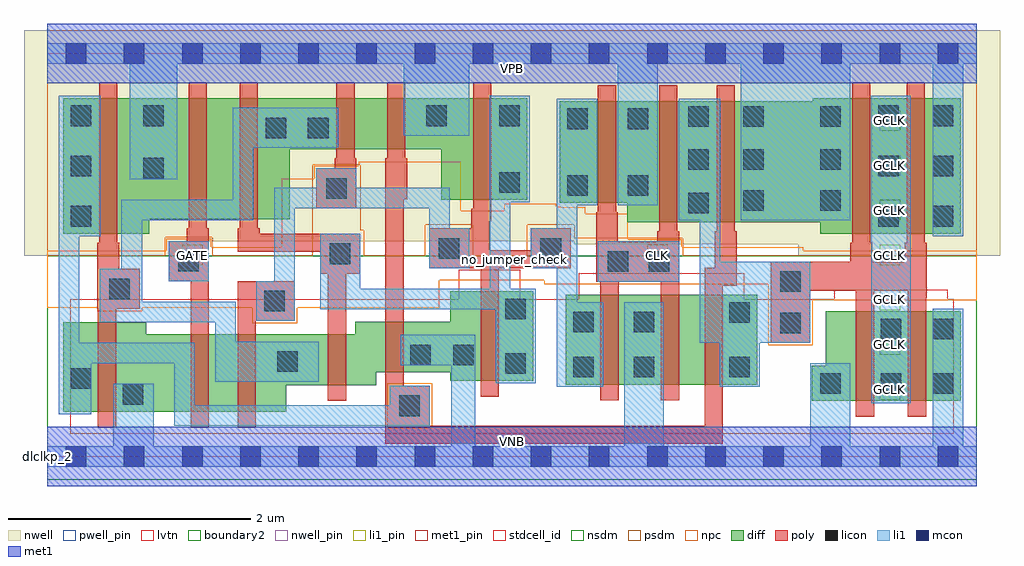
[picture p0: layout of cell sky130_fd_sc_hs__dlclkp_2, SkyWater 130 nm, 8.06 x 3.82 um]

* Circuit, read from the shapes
.subckt sky130_fd_sc_hs__dlclkp_2 CLK GATE GCLK VGND VNB VPB VPWR
XM1 VGND n1 n2 VNB sky130_fd_pr__nfet_01v8_lvt w=0.74 l=0.15
XM2 n3 GATE VGND VNB sky130_fd_pr__nfet_01v8_lvt w=0.64 l=0.15
XM3 n1 n4 n3 VNB sky130_fd_pr__nfet_01v8_lvt w=0.64 l=0.15
XM4 n5 n6 n1 VNB sky130_fd_pr__nfet_01v8_lvt w=0.42 l=0.15
XM5 VGND n2 n5 VNB sky130_fd_pr__nfet_01v8_lvt w=0.42 l=0.15
XM6 n6 n4 VGND VNB sky130_fd_pr__nfet_01v8_lvt w=0.74 l=0.15
XM7 VGND CLK n4 VNB sky130_fd_pr__nfet_01v8_lvt w=0.74 l=0.15
XM8 n7 CLK VGND VNB sky130_fd_pr__nfet_01v8_lvt w=0.74 l=0.15
XM9 n8 n2 n7 VNB sky130_fd_pr__nfet_01v8_lvt w=0.74 l=0.15
XM10 GCLK n8 VGND VNB sky130_fd_pr__nfet_01v8_lvt w=0.74 l=0.15 m=2
XM11 VPWR n1 n2 VPB sky130_fd_pr__pfet_01v8 w=1.12 l=0.15
XM12 n9 GATE VPWR VPB sky130_fd_pr__pfet_01v8 w=1 l=0.15
XM13 n1 n6 n9 VPB sky130_fd_pr__pfet_01v8 w=1 l=0.15
XM14 n10 n4 n1 VPB sky130_fd_pr__pfet_01v8 w=0.42 l=0.15
XM15 VPWR n2 n10 VPB sky130_fd_pr__pfet_01v8 w=0.42 l=0.15
XM16 n6 n4 VPWR VPB sky130_fd_pr__pfet_01v8 w=0.84 l=0.15
XM17 VPWR CLK n4 VPB sky130_fd_pr__pfet_01v8 w=0.84 l=0.15
XM18 n8 CLK VPWR VPB sky130_fd_pr__pfet_01v8 w=1 l=0.15
XM19 VPWR n2 n8 VPB sky130_fd_pr__pfet_01v8 w=1 l=0.15
XM20 GCLK n8 VPWR VPB sky130_fd_pr__pfet_01v8 w=1.12 l=0.15 m=2
.ends

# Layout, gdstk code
import gdstk
lib = gdstk.Library(unit=1e-6, precision=1e-09)
def R(c, l, rs):  # rectangles x0, y0, x1, y1
    for r in rs: c.add(gdstk.rectangle(r[:2], r[2:], *l))
def A(c, l, x, y, w, h, nx, ny, dx, dy):  # array of equal rectangles
    R(c, l, [(x+i*dx, y+j*dy, x+i*dx+w, y+j*dy+h) for i in range(nx) for j in range(ny)])
def P(c, l, *ps):  # polygons
    for p in ps: c.add(gdstk.Polygon(p, *l))
nwell_pin = (64, 16)
nwell = (64, 20)
diff = (65, 20)
poly = (66, 20)
licon = (66, 44)
li1_pin = (67, 16)
li1 = (67, 20)
mcon = (67, 44)
met1_pin = (68, 16)
met1 = (68, 20)
stdcell_id = (81, 4)
nsdm = (93, 44)
psdm = (94, 20)
npc = (95, 20)
pwell_pin = (122, 16)
lvtn = (125, 44)
boundary2 = (236, 0)

sky130_fd_sc_hs__dlclkp_ = lib.new_cell('sky130_fd_sc_hs__dlclkp_2')
R(sky130_fd_sc_hs__dlclkp_, nwell_pin, [(0,3.085,7.68,3.33)])
P(sky130_fd_sc_hs__dlclkp_, nwell, [(7.87,3.52),(-0.19,3.52),(-0.19,1.66),(1.16,1.66),(1.16,1.78),(4.355,1.78),(4.355,1.755),(6.205,1.755),(6.205,1.66),(7.87,1.66)])
R(sky130_fd_sc_hs__dlclkp_, diff, [(4.285,0.595,5.865,1.335)])
P(sky130_fd_sc_hs__dlclkp_, diff, [(3.965,2.96),(0.135,2.96),(0.135,1.84),(0.845,1.84),(0.845,1.96),(2.005,1.96),(2.005,2.54),(3.255,2.54),(3.255,2.12),(3.965,2.12)],
  [(4.015,1.365),(3.33,1.365),(3.33,1.115),(2.545,1.115),(2.545,1.01),(0.82,1.01),(0.82,1.11),(0.135,1.11),(0.135,0.37),(1.975,0.37),(1.975,0.59),(2.72,0.59),(2.72,0.695),(3.33,0.695),(3.33,0.625),(4.015,0.625)],
  [(7.545,2.96),(6.325,2.96),(6.325,2.935),(4.235,2.935),(4.235,2.095),(4.79,2.095),(4.79,1.935),(6.385,1.935),(6.385,1.84),(7.545,1.84)],
  [(7.545,1.2),(6.43,1.2),(6.43,0.75),(6.315,0.75),(6.315,0.46),(7.545,0.46)])
P(sky130_fd_sc_hs__dlclkp_, poly, [(7.265,1.765),(7.25,1.765),(7.25,3.09),(7.1,3.09),(7.1,1.765),(7.085,1.765),(7.085,1.61),(6.815,1.61),(6.815,1.765),(6.8,1.765),(6.8,3.09),(6.65,3.09),(6.65,1.765),(6.635,1.765),(6.635,1.61),(5.975,1.61),(5.975,0.94),(6.305,0.94),(6.305,1.37),(6.68,1.37),(6.68,0.33),(6.83,0.33),(6.83,1.37),(7.11,1.37),(7.11,0.33),(7.26,0.33),(7.26,1.31),(7.265,1.31)],
  [(5.695,1.86),(5.68,1.86),(5.68,3.065),(5.53,3.065),(5.53,1.86),(5.515,1.86),(5.515,1.56),(5.43,1.56),(5.43,0.255),(3.16,0.255),(3.16,0.585),(2.945,0.585),(2.945,2.125),(2.975,2.125),(2.975,2.465),(2.96,2.465),(2.96,3.09),(2.81,3.09),(2.81,2.465),(2.795,2.465),(2.795,0.105),(5.58,0.105),(5.58,1.41),(5.695,1.41)],
  [(5.22,1.86),(5.205,1.86),(5.205,3.065),(5.055,3.065),(5.055,1.86),(5.04,1.86),(5.04,1.775),(4.715,1.775),(4.715,2.02),(4.7,2.02),(4.7,3.065),(4.55,3.065),(4.55,2.02),(4.535,2.02),(4.535,1.445),(4.57,1.445),(4.57,0.465),(4.72,0.465),(4.72,1.445),(5.07,1.445),(5.07,0.465),(5.22,0.465)],
  [(4.325,1.885),(3.995,1.885),(3.995,1.705),(3.655,1.705),(3.655,1.945),(3.67,1.945),(3.67,3.09),(3.52,3.09),(3.52,2.045),(3.505,2.045),(3.505,1.885),(3.155,1.885),(3.155,1.555),(3.58,1.555),(3.58,0.495),(3.73,0.495),(3.73,1.555),(4.325,1.555)],
  [(2.585,1.84),(1.755,1.84),(1.755,1.885),(1.74,1.885),(1.74,3.09),(1.59,3.09),(1.59,1.885),(1.575,1.885),(1.575,1.69),(2.255,1.69),(2.255,1.51),(2.32,1.51),(2.32,0.46),(2.47,0.46),(2.47,1.51),(2.585,1.51)],
  [(2.555,2.465),(2.54,2.465),(2.54,3.09),(2.39,3.09),(2.39,2.465),(2.375,2.465),(2.375,2.38),(2.225,2.38),(2.225,2.05),(2.555,2.05)],
  [(2.045,1.45),(1.575,1.45),(1.575,0.24),(1.725,0.24),(1.725,1.12),(2.045,1.12)],
  [(1.335,1.885),(1.32,1.885),(1.32,3.09),(1.17,3.09),(1.17,1.885),(1.155,1.885),(1.155,1.78),(1.005,1.78),(1.005,1.45),(1.185,1.45),(1.185,0.24),(1.335,0.24)],
  [(0.765,1.55),(0.595,1.55),(0.595,1.765),(0.58,1.765),(0.58,3.09),(0.43,3.09),(0.43,1.765),(0.415,1.765),(0.415,1.22),(0.42,1.22),(0.42,0.24),(0.57,0.24),(0.57,1.22),(0.765,1.22)])
A(sky130_fd_sc_hs__dlclkp_, licon, 0.195, 1.9, 0.17, 0.17, 1, 3, 0, 0.415)
A(sky130_fd_sc_hs__dlclkp_, licon, 6.865, 1.9, 0.17, 0.17, 1, 3, 0, 0.415)
A(sky130_fd_sc_hs__dlclkp_, licon, 7.315, 1.9, 0.17, 0.17, 1, 3, 0, 0.415)
R(sky130_fd_sc_hs__dlclkp_, licon, [(2.91,0.335,3.08,0.505), (0.625,0.43,0.795,0.6), (6.385,0.52,6.555,0.69), (6.885,0.52,7.055,0.69), (7.315,0.52,7.485,0.69), (0.195,0.56,0.365,0.73), (4.345,0.655,4.515,0.825), (4.845,0.655,5.015,0.825), (5.635,0.655,5.805,0.825), (3.785,0.685,3.955,0.855), (1.9,0.7,2.07,0.87), (3,0.755,3.17,0.925), (3.355,0.755,3.525,0.925), (6.885,0.97,7.055,1.14), (7.315,0.97,7.485,1.14), (6.055,1.02,6.225,1.19), (4.345,1.025,4.515,1.195), (4.845,1.025,5.015,1.195), (5.635,1.105,5.805,1.275), (3.785,1.135,3.955,1.305), (1.795,1.2,1.965,1.37), (0.515,1.3,0.685,1.47), (6.055,1.36,6.225,1.53), (4.63,1.525,4.8,1.695), (4.97,1.525,5.14,1.695), (1.085,1.53,1.255,1.7), (2.335,1.59,2.505,1.76), (3.235,1.635,3.405,1.805), (4.075,1.635,4.245,1.805), (5.295,2.01,5.465,2.18), (5.75,2.03,5.92,2.2), (6.385,2.03,6.555,2.2), (2.305,2.13,2.475,2.3), (4.295,2.155,4.465,2.325), (4.795,2.155,4.965,2.325), (3.735,2.18,3.905,2.35), (0.795,2.3,0.965,2.47), (5.295,2.37,5.465,2.54), (5.75,2.37,5.92,2.54), (6.385,2.37,6.555,2.54), (1.805,2.63,1.975,2.8), (2.155,2.63,2.325,2.8), (4.295,2.705,4.465,2.875), (4.795,2.705,4.965,2.875), (5.295,2.725,5.465,2.895), (5.75,2.725,5.92,2.895), (6.385,2.725,6.555,2.895), (0.795,2.73,0.965,2.9), (3.13,2.73,3.3,2.9), (3.735,2.73,3.905,2.9)])
A(sky130_fd_sc_hs__dlclkp_, li1_pin, 6.875, 0.47, 0.17, 0.17, 1, 7, 0, 0.37)
R(sky130_fd_sc_hs__dlclkp_, li1_pin, [(1.115,1.58,1.285,1.75), (4.955,1.58,5.125,1.75)])
R(sky130_fd_sc_hs__dlclkp_, li1, [(6.805,0.44,7.135,2.98), (4.55,1.445,5.22,1.78), (1.005,1.45,1.335,1.78)])
P(sky130_fd_sc_hs__dlclkp_, li1, [(0.685,2.29),(0.685,3.245),(0,3.245),(0,3.415),(7.68,3.415),(7.68,3.245),(7.565,3.245),(7.565,1.82),(7.315,1.82),(7.315,3.245),(6.635,3.245),(6.635,1.95),(5.73,1.95),(5.73,3.245),(5.045,3.245),(5.045,2.075),(4.715,2.075),(4.715,3.245),(3.485,3.245),(3.485,2.65),(2.945,2.65),(2.945,3.245),(1.075,3.245),(1.075,2.29)],
  [(0.545,0.085),(0.545,0.6),(0.88,0.6),(0.88,0.085),(3.34,0.085),(3.34,0.755),(2.92,0.755),(2.92,1.005),(3.535,1.005),(3.535,0.085),(4.765,0.085),(4.765,1.275),(5.095,1.275),(5.095,0.085),(6.305,0.085),(6.305,0.77),(6.635,0.77),(6.635,0.085),(7.315,0.085),(7.315,1.22),(7.565,1.22),(7.565,0.085),(7.68,0.085),(7.68,-0.085),(0,-0.085),(0,0.085)],
  [(0.785,1.28),(1.56,1.28),(1.56,0.95),(2.245,0.95),(2.245,0.62),(1.39,0.62),(1.39,1.11),(0.435,1.11),(0.435,1.55),(0.615,1.55),(0.615,2.12),(1.535,2.12),(1.535,2.88),(2.405,2.88),(2.405,2.55),(1.705,2.55),(1.705,1.95),(0.785,1.95)],
  [(2.555,2.22),(3.325,2.22),(3.325,1.885),(3.485,1.885),(3.485,1.555),(3.155,1.555),(3.155,2.05),(2.045,2.05),(2.045,1.12),(1.73,1.12),(1.73,1.45),(1.875,1.45),(1.875,2.22),(2.225,2.22),(2.225,2.38),(2.555,2.38)],
  [(1.05,0.77),(0.365,0.77),(0.365,0.35),(0.095,0.35),(0.095,2.98),(0.445,2.98),(0.445,1.82),(0.265,1.82),(0.265,0.94),(1.22,0.94),(1.22,0.425),(2.83,0.425),(2.83,0.585),(3.16,0.585),(3.16,0.255),(1.05,0.255)],
  [(2.255,1.215),(2.255,1.84),(2.585,1.84),(2.585,1.385),(3.655,1.385),(3.655,2.98),(3.985,2.98),(3.985,2.1),(3.825,2.1),(3.825,1.385),(4.035,1.385),(4.035,0.605),(3.705,0.605),(3.705,1.215)],
  [(5.215,1.95),(5.215,2.955),(5.56,2.955),(5.56,1.61),(6.305,1.61),(6.305,0.94),(5.885,0.94),(5.885,0.575),(5.555,0.575),(5.555,0.94),(5.39,0.94),(5.39,1.95)],
  [(3.995,1.555),(3.995,1.885),(4.21,1.885),(4.21,2.955),(4.545,2.955),(4.545,2.075),(4.38,2.075),(4.38,1.275),(4.595,1.275),(4.595,0.575),(4.21,0.575),(4.21,1.555)])
A(sky130_fd_sc_hs__dlclkp_, mcon, 0.155, -0.085, 0.17, 0.17, 16, 2, 0.48, 3.33)
R(sky130_fd_sc_hs__dlclkp_, met1_pin, [(0,0,7.68,0.245), (0,3.085,7.68,3.33)])
R(sky130_fd_sc_hs__dlclkp_, met1, [(0,-0.245,7.68,0.245), (0,3.085,7.68,3.575)])
R(sky130_fd_sc_hs__dlclkp_, stdcell_id, [(0,0,7.68,3.33)])
R(sky130_fd_sc_hs__dlclkp_, nsdm, [(0,-0.19,7.68,1.66)])
P(sky130_fd_sc_hs__dlclkp_, psdm, [(7.68,3.52),(0,3.52),(0,1.66),(0.975,1.66),(0.975,1.81),(1.365,1.81),(1.365,1.66),(2.195,1.66),(2.195,2.41),(2.585,2.41),(2.585,1.87),(2.615,1.87),(2.615,1.66),(3.125,1.66),(3.125,1.915),(3.515,1.915),(3.515,1.66),(3.965,1.66),(3.965,1.915),(4.355,1.915),(4.355,1.805),(5.25,1.805),(5.25,1.66),(7.68,1.66)])
R(sky130_fd_sc_hs__dlclkp_, npc, [(2.81,0.235,3.18,0.605)])
P(sky130_fd_sc_hs__dlclkp_, npc, [(7.68,1.7),(6.245,1.7),(6.245,1.73),(5.24,1.73),(5.24,1.795),(4.795,1.795),(4.795,2.005),(4.445,2.005),(4.445,2.06),(4.24,2.06),(4.24,2.065),(4.205,2.065),(4.205,2.09),(3.775,2.09),(3.775,2.03),(3.415,2.03),(3.415,2.435),(2.575,2.435),(2.575,2.4),(2.205,2.4),(2.205,2.295),(1.94,2.295),(1.94,1.73),(1.355,1.73),(1.355,1.8),(0.985,1.8),(0.985,1.7),(0,1.7),(0,1.23),(0.415,1.23),(0.415,1.2),(0.785,1.2),(0.785,1.23),(1.695,1.23),(1.695,1.1),(2.065,1.1),(2.065,1.23),(3.24,1.23),(3.24,1.455),(4.105,1.455),(4.105,1.425),(5.955,1.425),(5.955,0.92),(6.325,0.92),(6.325,1.29),(7.68,1.29)])
R(sky130_fd_sc_hs__dlclkp_, pwell_pin, [(0,0,7.68,0.245)])
P(sky130_fd_sc_hs__dlclkp_, lvtn, [(7.49,1.3),(7.44,1.3),(7.44,1.38),(6.5,1.38),(6.5,1.3),(5.76,1.3),(5.76,1.515),(4.39,1.515),(4.39,1.3),(3.91,1.3),(3.91,1.545),(3.4,1.545),(3.4,1.3),(0.19,1.3),(0.19,0.19),(7.49,0.19)])
R(sky130_fd_sc_hs__dlclkp_, boundary2, [(0,0,7.68,3.33)])
sky130_fd_sc_hs__dlclkp_.add(gdstk.Label('no_jumper_check', (3.86,1.625), layer=83, texttype=44))
sky130_fd_sc_hs__dlclkp_.add(gdstk.Label('dlclkp_2', (0,0), layer=83, texttype=44))
sky130_fd_sc_hs__dlclkp_.add(gdstk.Label('VNB', (3.84,0.123), layer=64, texttype=59))
sky130_fd_sc_hs__dlclkp_.add(gdstk.Label('VPB', (3.84,3.208), layer=64, texttype=5))
sky130_fd_sc_hs__dlclkp_.add(gdstk.Label('VPWR', (3.84,3.208), layer=68, texttype=5))
sky130_fd_sc_hs__dlclkp_.add(gdstk.Label('VGND', (3.84,0.123), layer=68, texttype=5))
sky130_fd_sc_hs__dlclkp_.add(gdstk.Label('GATE', (1.2,1.665), layer=67, texttype=5))
sky130_fd_sc_hs__dlclkp_.add(gdstk.Label('CLK', (5.04,1.665), layer=67, texttype=5))
sky130_fd_sc_hs__dlclkp_.add(gdstk.Label('GCLK', (6.96,0.555), layer=67, texttype=5))
sky130_fd_sc_hs__dlclkp_.add(gdstk.Label('GCLK', (6.96,0.925), layer=67, texttype=5))
sky130_fd_sc_hs__dlclkp_.add(gdstk.Label('GCLK', (6.96,1.295), layer=67, texttype=5))
sky130_fd_sc_hs__dlclkp_.add(gdstk.Label('GCLK', (6.96,1.665), layer=67, texttype=5))
sky130_fd_sc_hs__dlclkp_.add(gdstk.Label('GCLK', (6.96,2.035), layer=67, texttype=5))
sky130_fd_sc_hs__dlclkp_.add(gdstk.Label('GCLK', (6.96,2.405), layer=67, texttype=5))
sky130_fd_sc_hs__dlclkp_.add(gdstk.Label('GCLK', (6.96,2.775), layer=67, texttype=5))

lib.write_gds('sky130_fd_sc_hs__dlclkp_2.gds')
